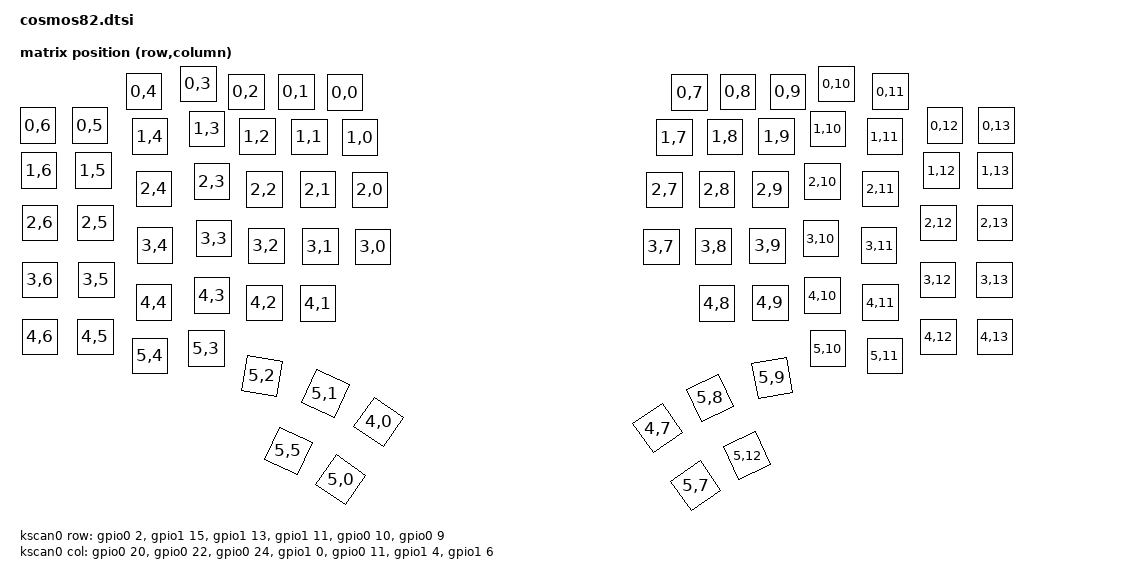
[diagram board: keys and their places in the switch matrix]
/*
 * Copyright (c) 2026 OD
 *
 * SPDX-License-Identifier: MIT
 *
 * Cosmos 82 - hand-wired dished split, 2x nice!nano v2, Choc v1 hotswap.
 * Shared definitions for both halves.
 *
 * Physical design (Cosmos generator, source of truth for key geometry -
 * needed if ZMK Studio support is ever added):
 * https://ryanis.cool/cosmos/beta#cm:CsoCCiQSDRDwPSA7QABIAGICRjYSBRCAPyAnEgIgExICIAASADgxQAAKJBINEPBJIDtAAEgAYgJGNxIFEIBLICcSAiATEgIgABIAOB1AAAoxEg0Q8FUgO0AASABiAkY4EgUQgFcgJxICIBMSAiAAEgMQsC8SBRCwayAoOAlAgPC8AgouEg0Q8GEgO0AASABiAkY5EgUQgGMgJxICIBMSAiAAEgMQsDsSBRCwIyAoOApAAAopEg4Q8G0gO0AASABiA0YxMBIFEIBvICcSAiATEgIgABIAOB5AgIaKwAcKLRIIEHAgO0AASAASBRCAFyAnEgUQkF8gExIGEKDOCiAAEgMQsEA4MkCAhorABwowEggQcCA7QABIABIFEIAzICcSAiATEgIgABIRCJaAkgFAoYXcjNANSJKLjF84RUAAGABA6IWgrvBVSNzwoqABCo4BCisSExDAgAJAgICYAkjCmaCVkLwBUEMSEkCAgMwCSMKZoJWQvAFQhgFYOjgIChUSEBBAQICAIEjQlYDdkPUDUAtQngIKJxIQEEBAgID4AUjmmfynkAtQVxIRQICApANI8JnEtdAwUHRYlQFQfxgCIg4IyAEQyAEYACAAMAA4AEDLi/yf0DFIrZHcjcGTBhADGIsgIgMY6AI4A1hIggEBAg==
 *
 * Matrix (identical logical assignment on both halves, mirrored physically):
 *
 *   Row   nRF pin   Pro Micro pad        Col   nRF pin   Pro Micro pad
 *   ---   -------   -------------        ---   -------   -------------
 *   R0    P0.02     D19 / A1             C0    P0.20     D3
 *   R1    P1.15     D18 / A0             C1    P0.22     D4 / A6
 *   R2    P1.13     D15                  C2    P0.24     D5
 *   R3    P1.11     D14                  C3    P1.00     D6 / A7
 *   R4    P0.10     D16   <- NFC pin     C4    P0.11     D7
 *   R5    P0.09     D10 / A10 <- NFC     C5    P1.04     D8 / A8
 *                                        C6    P1.06     D9 / A9
 */

#include <dt-bindings/zmk/matrix_transform.h>
#include <physical_layouts.dtsi>
#include <zephyr/dt-bindings/input/input-event-codes.h>

/*
 * R4 (P0.10) and R5 (P0.09) are the nRF52840's NFC antenna pins and are NOT
 * usable as GPIO until NFC is released. ZMK's nice_nano_v2 board files do not
 * do this for you, so without the line below 14 keys per half - including 4 of
 * the 5 thumb keys - are silently dead.
 *
 * This writes UICR once, on the first boot after flashing. It persists across
 * reflashes and is only undone by a full UICR erase. The old
 * CONFIG_NFCT_PINS_AS_GPIOS Kconfig symbol is deprecated in Zephyr 3.5; this
 * devicetree property is the supported replacement.
 */
&uicr {
    nfct-pins-as-gpios;
};

/ {
    chosen {
        zmk,kscan = &kscan0;
        zmk,physical-layout = &physical_layout0;
    };

    kscan0: kscan {
        compatible = "zmk,kscan-gpio-matrix";
        diode-direction = "col2row";
        wakeup-source;

        /* Driven low->high one at a time */
        col-gpios
            = <&gpio0 20 GPIO_ACTIVE_HIGH>  /* C0 - P0.20 / D3      */
            , <&gpio0 22 GPIO_ACTIVE_HIGH>  /* C1 - P0.22 / D4      */
            , <&gpio0 24 GPIO_ACTIVE_HIGH>  /* C2 - P0.24 / D5      */
            , <&gpio1  0 GPIO_ACTIVE_HIGH>  /* C3 - P1.00 / D6      */
            , <&gpio0 11 GPIO_ACTIVE_HIGH>  /* C4 - P0.11 / D7      */
            , <&gpio1  4 GPIO_ACTIVE_HIGH>  /* C5 - P1.04 / D8      */
            , <&gpio1  6 GPIO_ACTIVE_HIGH>  /* C6 - P1.06 / D9      */
            ;

        /* Read back, pulled down between scans */
        row-gpios
            = <&gpio0  2 (GPIO_ACTIVE_HIGH | GPIO_PULL_DOWN)>  /* R0 - P0.02 / D19 */
            , <&gpio1 15 (GPIO_ACTIVE_HIGH | GPIO_PULL_DOWN)>  /* R1 - P1.15 / D18 */
            , <&gpio1 13 (GPIO_ACTIVE_HIGH | GPIO_PULL_DOWN)>  /* R2 - P1.13 / D15 */
            , <&gpio1 11 (GPIO_ACTIVE_HIGH | GPIO_PULL_DOWN)>  /* R3 - P1.11 / D14 */
            , <&gpio0 10 (GPIO_ACTIVE_HIGH | GPIO_PULL_DOWN)>  /* R4 - P0.10 / D16 */
            , <&gpio0  9 (GPIO_ACTIVE_HIGH | GPIO_PULL_DOWN)>  /* R5 - P0.09 / D10 */
            ;
    };

    /*
     * Joined matrix: 6 rows x 14 columns.
     *   Left  half -> matrix columns 0..6  (col-offset 0, the default)
     *   Right half -> matrix columns 7..13 (col-offset 7, set in the overlay)
     *
     * Each half applies this transform locally and reports the resulting key
     * position, so the offset is what keeps the two halves from colliding. It
     * is independent of which half is the central.
     *
     * PHYSICAL ORDER, confirmed by the discovery pass. The map reads the way
     * you look at the board: left to right, top to bottom.
     *
     * The halves are wired identically but mounted mirrored, so the columns
     * run in OPPOSITE visual directions:
     *   left  half, left-to-right = C6 C5 C4 C3 C2 C1 C0   (C0 is innermost)
     *   right half, left-to-right = C0 C1 C2 C3 C4 C5 C6   (C0 is innermost)
     *
     * Per half: 7/7/7/7 finger keys on rows 0-3, 6 on row 4, 2 on row 5, then
     * a 5-key thumb cluster (3 upper, 2 lower) hanging off rows 4 and 5.
     * 41 keys per half, 82 total.
     *
     * RC(5,6) and its mirror RC(5,13) are the one unwired crossing per half
     * and are deliberately absent - a map may be shorter than rows x columns.
     */
    default_transform: keymap_transform_0 {
        compatible = "zmk,matrix-transform";
        columns = <14>;
        rows = <6>;
        map = <
    //   ------------------------- LEFT (C6 -> C0) -------------------------       ------------------------ RIGHT (C0 -> C6) -------------------------
         RC(0,6)  RC(0,5)  RC(0,4)  RC(0,3)  RC(0,2)  RC(0,1)  RC(0,0)             RC(0,7)  RC(0,8)  RC(0,9)  RC(0,10) RC(0,11) RC(0,12) RC(0,13)
         RC(1,6)  RC(1,5)  RC(1,4)  RC(1,3)  RC(1,2)  RC(1,1)  RC(1,0)             RC(1,7)  RC(1,8)  RC(1,9)  RC(1,10) RC(1,11) RC(1,12) RC(1,13)
         RC(2,6)  RC(2,5)  RC(2,4)  RC(2,3)  RC(2,2)  RC(2,1)  RC(2,0)             RC(2,7)  RC(2,8)  RC(2,9)  RC(2,10) RC(2,11) RC(2,12) RC(2,13)
         RC(3,6)  RC(3,5)  RC(3,4)  RC(3,3)  RC(3,2)  RC(3,1)  RC(3,0)             RC(3,7)  RC(3,8)  RC(3,9)  RC(3,10) RC(3,11) RC(3,12) RC(3,13)
                  RC(4,6)  RC(4,5)  RC(4,4)  RC(4,3)  RC(4,2)  RC(4,1)             RC(4,8)  RC(4,9)  RC(4,10) RC(4,11) RC(4,12) RC(4,13)
                                    RC(5,4)  RC(5,3)                                                 RC(5,10) RC(5,11)
    //   thumb cluster, upper row (3) then lower row (2)
                           RC(5,2)  RC(5,1)  RC(4,0)                                        RC(4,7)  RC(5,8)  RC(5,9)
                                    RC(5,5)  RC(5,0)                                        RC(5,7)  RC(5,12)
        >;
    };

    /*
     * Physical layout. The keys property below is only consumed by ZMK Studio,
     * which is NOT currently enabled - the keymap is edited with keymap-editor
     * instead, which reads config/info.json. It is kept as a native ZMK record
     * of the board's geometry; re-enabling Studio needs only the build flag and
     * a &studio_unlock binding.
     *
     * Coordinates come from the Cosmos KLE export, reordered to match the
     * transform above: per row, left half then right half, each sorted left to
     * right as you look at the board.
     *
     * Units are centi-keyunits (100 = 1u) and centi-degrees. This is a flat
     * projection of a dished 3D board, so it is a schematic of the real
     * geometry rather than a literal one. Every x/y is exactly as exported,
     * including the column stagger.
     *
     * Keycaps are drawn at 79 rather than 100. Flattening a dish genuinely
     * puts some keys closer than 1u apart - the row 0 to row 1 pitch is only
     * 90, and one diagonal pair per half is 79 apart - so at full size the top
     * two rows visibly overlapped. Shrinking the cap is the only fix that
     * distorts no positions at all; 79 is the largest value with zero overlaps.
     *
     * The 10 thumb keys are not. Flattening a dish collapses that cluster onto
     * itself, and the export has them overlapping badly enough that Studio drew
     * each key over its neighbour and two of them disappeared entirely. They
     * are spread 1.21x about each half's thumb centroid and moved 0.4u down -
     * the least distortion that clears every overlap. Splay angles (10/25/35
     * degrees, mirrored) are untouched and are the true values.
     */
    physical_layout0: physical_layout_0 {
        compatible = "zmk,physical-layout";
        display-name = "Default";
        transform = <&default_transform>;
        kscan = <&kscan0>;
        keys  //                     w    h     x     y   rot     rx    ry
            // row 0  (7 left, 7 right)
            = <&key_physical_attrs  79   79     0    83     0      0     0>
            , <&key_physical_attrs  79   79   104    83     0      0     0>
            , <&key_physical_attrs  79   79   212    15     0      0     0>
            , <&key_physical_attrs  79   79   321     0     0      0     0>
            , <&key_physical_attrs  79   79   417    16     0      0     0>
            , <&key_physical_attrs  79   79   517    16     0      0     0>
            , <&key_physical_attrs  79   79   614    17     0      0     0>
            , <&key_physical_attrs  79   79  1304    17     0      0     0>
            , <&key_physical_attrs  79   79  1400    16     0      0     0>
            , <&key_physical_attrs  79   79  1500    16     0      0     0>
            , <&key_physical_attrs  79   79  1597     0     0      0     0>
            , <&key_physical_attrs  79   79  1706    15     0      0     0>
            , <&key_physical_attrs  79   79  1814    83     0      0     0>
            , <&key_physical_attrs  79   79  1917    83     0      0     0>
            // row 1  (7 left, 7 right)
            , <&key_physical_attrs  79   79     2   173     0      0     0>
            , <&key_physical_attrs  79   79   111   173     0      0     0>
            , <&key_physical_attrs  79   79   224   105     0      0     0>
            , <&key_physical_attrs  79   79   338    90     0      0     0>
            , <&key_physical_attrs  79   79   439   105     0      0     0>
            , <&key_physical_attrs  79   79   543   106     0      0     0>
            , <&key_physical_attrs  79   79   644   107     0      0     0>
            , <&key_physical_attrs  79   79  1273   107     0      0     0>
            , <&key_physical_attrs  79   79  1374   106     0      0     0>
            , <&key_physical_attrs  79   79  1478   105     0      0     0>
            , <&key_physical_attrs  79   79  1580    90     0      0     0>
            , <&key_physical_attrs  79   79  1694   105     0      0     0>
            , <&key_physical_attrs  79   79  1807   173     0      0     0>
            , <&key_physical_attrs  79   79  1915   173     0      0     0>
            // row 2  (7 left, 7 right)
            , <&key_physical_attrs  79   79     4   278     0      0     0>
            , <&key_physical_attrs  79   79   115   278     0      0     0>
            , <&key_physical_attrs  79   79   232   210     0      0     0>
            , <&key_physical_attrs  79   79   348   195     0      0     0>
            , <&key_physical_attrs  79   79   453   211     0      0     0>
            , <&key_physical_attrs  79   79   560   211     0      0     0>
            , <&key_physical_attrs  79   79   664   212     0      0     0>
            , <&key_physical_attrs  79   79  1254   212     0      0     0>
            , <&key_physical_attrs  79   79  1358   211     0      0     0>
            , <&key_physical_attrs  79   79  1465   211     0      0     0>
            , <&key_physical_attrs  79   79  1569   195     0      0     0>
            , <&key_physical_attrs  79   79  1686   210     0      0     0>
            , <&key_physical_attrs  79   79  1802   278     0      0     0>
            , <&key_physical_attrs  79   79  1914   278     0      0     0>
            // row 3  (7 left, 7 right)
            , <&key_physical_attrs  79   79     4   392     0      0     0>
            , <&key_physical_attrs  79   79   117   392     0      0     0>
            , <&key_physical_attrs  79   79   234   323     0      0     0>
            , <&key_physical_attrs  79   79   352   309     0      0     0>
            , <&key_physical_attrs  79   79   457   324     0      0     0>
            , <&key_physical_attrs  79   79   565   325     0      0     0>
            , <&key_physical_attrs  79   79   670   326     0      0     0>
            , <&key_physical_attrs  79   79  1247   326     0      0     0>
            , <&key_physical_attrs  79   79  1352   325     0      0     0>
            , <&key_physical_attrs  79   79  1460   324     0      0     0>
            , <&key_physical_attrs  79   79  1566   309     0      0     0>
            , <&key_physical_attrs  79   79  1683   323     0      0     0>
            , <&key_physical_attrs  79   79  1800   392     0      0     0>
            , <&key_physical_attrs  79   79  1913   392     0      0     0>
            // row 4  (6 left, 6 right)
            , <&key_physical_attrs  79   79     4   506     0      0     0>
            , <&key_physical_attrs  79   79   115   506     0      0     0>
            , <&key_physical_attrs  79   79   232   437     0      0     0>
            , <&key_physical_attrs  79   79   348   423     0      0     0>
            , <&key_physical_attrs  79   79   453   438     0      0     0>
            , <&key_physical_attrs  79   79   560   439     0      0     0>
            , <&key_physical_attrs  79   79  1358   439     0      0     0>
            , <&key_physical_attrs  79   79  1465   438     0      0     0>
            , <&key_physical_attrs  79   79  1569   423     0      0     0>
            , <&key_physical_attrs  79   79  1686   437     0      0     0>
            , <&key_physical_attrs  79   79  1802   506     0      0     0>
            , <&key_physical_attrs  79   79  1914   506     0      0     0>
            // row 5  (2 left, 2 right)
            , <&key_physical_attrs  79   79   224   544     0      0     0>
            , <&key_physical_attrs  79   79   337   529     0      0     0>
            , <&key_physical_attrs  79   79  1580   529     0      0     0>
            , <&key_physical_attrs  79   79  1694   544     0      0     0>
            // thumb upper  (3 left, 3 right)
            , <&key_physical_attrs  79   79   446   586  1000    496   636>
            , <&key_physical_attrs  79   79   570   623  2500    620   673>
            , <&key_physical_attrs  79   79   674   681  3500    724   731>
            , <&key_physical_attrs  79   79  1244   681 (-3500)   1294   731>
            , <&key_physical_attrs  79   79  1348   623 (-2500)   1398   673>
            , <&key_physical_attrs  79   79  1471   586 (-1000)   1521   636>
            // thumb lower  (2 left, 2 right)
            , <&key_physical_attrs  79   79   496   738  2500    546   788>
            , <&key_physical_attrs  79   79   598   796  3500    648   846>
            , <&key_physical_attrs  79   79  1320   796 (-3500)   1370   846>
            , <&key_physical_attrs  79   79  1422   738 (-2500)   1472   788>
            ;
    };
};

/*
 * ============================================================================
 * Stage 2 - PMW3610 trackballs (one per half, identically wired)
 * ============================================================================
 *
 *   Signal   nRF pin   Pro Micro pad
 *   ------   -------   -------------
 *   SCLK     P0.31     D21 / A3
 *   SDIO     P0.29     D20 / A2      <- 3-wire: MOSI and MISO share this pin
 *   CS       P0.06     D1
 *   MOT      P0.08     D0
 *
 * Three of the nice!nano's own peripherals claim pins we need, or pins the
 * matrix already uses. They are harmless today only because CONFIG_SPI is off;
 * enabling it for the sensor would initialise them and apply their pinctrl.
 */

/*
 * uart0 is status = "okay" on the nice!nano with TX on P0.06 and RX on P0.08 -
 * exactly our CS and MOT lines. Nothing uses it (it is not the console), so it
 * is disabled to release the pins.
 */
&uart0 {
    status = "disabled";
};

/*
 * THIS ONE MATTERS. spi1 (pro_micro_spi) is also status = "okay", and its
 * pinctrl is SCK P1.13, MOSI P0.10, MISO P1.11 - which are matrix rows R2, R4
 * and R3. With CONFIG_SPI=y it would initialise and steal three of the six
 * rows, killing half the keyboard with no error anywhere.
 */
&spi1 {
    status = "disabled";
};

/*
 * i2c0 shares a hardware instance with spi0 on the nRF52840, so the two are
 * mutually exclusive. Its default SCL is also P0.20, which is column C0.
 */
&i2c0 {
    status = "disabled";
};

&pinctrl {
    spi0_default: spi0_default {
        group1 {
            psels = <NRF_PSEL(SPIM_SCK, 0, 31)>,
                    <NRF_PSEL(SPIM_MOSI, 0, 29)>,
                    <NRF_PSEL(SPIM_MISO, 0, 29)>;
        };
    };

    spi0_sleep: spi0_sleep {
        group1 {
            psels = <NRF_PSEL(SPIM_SCK, 0, 31)>,
                    <NRF_PSEL(SPIM_MOSI, 0, 29)>,
                    <NRF_PSEL(SPIM_MISO, 0, 29)>;
            low-power-enable;
        };
    };
};

&spi0 {
    status = "okay";
    compatible = "nordic,nrf-spim";
    pinctrl-0 = <&spi0_default>;
    pinctrl-1 = <&spi0_sleep>;
    pinctrl-names = "default", "sleep";
    cs-gpios = <&gpio0 6 GPIO_ACTIVE_LOW>;   /* CS  - P0.06 / D1 */

    trackball: trackball@0 {
        status = "okay";
        compatible = "pixart,pmw3610";
        reg = <0>;
        spi-max-frequency = <2000000>;
        irq-gpios = <&gpio0 8 (GPIO_ACTIVE_LOW | GPIO_PULL_UP)>;
        cpi = <600>;

        /*
         * Required by the binding. Both sensors emit plain relative X/Y here;
         * the left half's ball is turned into scroll on the central, in
         * cosmos82_right.overlay, so this node stays identical on both halves.
         */
        evt-type = <INPUT_EV_REL>;
        x-input-code = <INPUT_REL_X>;
        y-input-code = <INPUT_REL_Y>;

        /*
         * Orientation is decided by how the sensor is physically mounted, which
         * we cannot know until it is tested. If the cursor moves along the wrong
         * axis or backwards, add swap-xy, invert-x and/or invert-y here (they
         * are devicetree properties in this driver, not Kconfig).
         *
         * force-awake / force-awake-4ms-mode are deliberately left off: they
         * keep the sensor permanently powered for lower latency, at a real cost
         * to battery life on a wireless board.
         */
    };
};

/ {
    /*
     * The LEFT half's sensor lives on the peripheral, so its events have to
     * cross the BLE link. Both halves instantiate this node: on the peripheral
     * it forwards the local sensor, on the central it receives.
     */
    split_inputs {
        #address-cells = <1>;
        #size-cells = <0>;

        trackball_split: trackball_split@0 {
            compatible = "zmk,input-split";
            reg = <0>;
        };
    };

    /*
     * Both listeners are declared here but disabled, so either half can build
     * and the keymap can reference them without an undefined-reference error.
     * The central enables both; the peripheral enables neither.
     */
    trackball_listener: trackball_listener {
        compatible = "zmk,input-listener";
        status = "disabled";
        device = <&trackball>;
    };

    trackball_split_listener: trackball_split_listener {
        compatible = "zmk,input-listener";
        status = "disabled";
        device = <&trackball_split>;
    };
};
